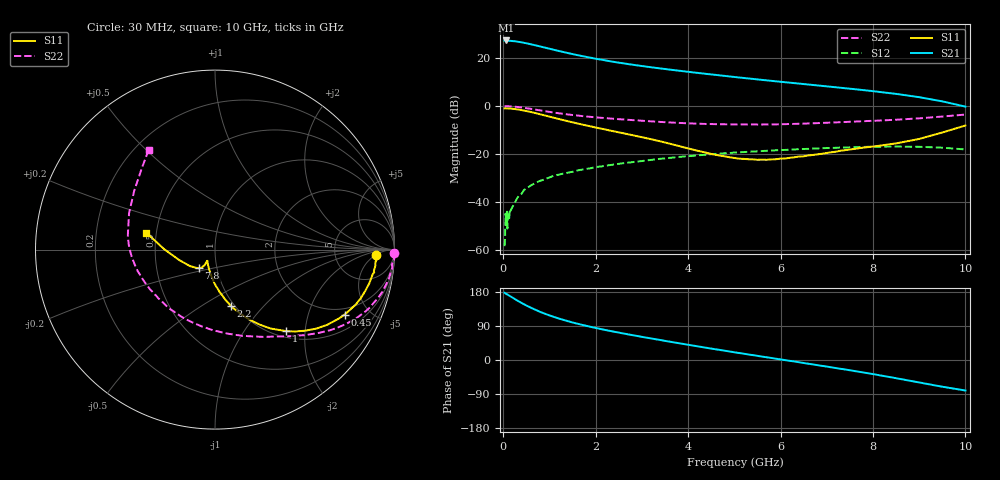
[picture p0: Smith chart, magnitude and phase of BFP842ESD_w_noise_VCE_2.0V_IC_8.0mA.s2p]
! Infineon Technologies  Discrete & RF Semiconductors
! BFP842ESD
! VCE =  2.0 V,  IC =  8.0 mA
! Common Emitter S-Parameters:  May 2012
# GHz  S  MA  R  50
!  f  S11  S21  S12  S22
! GHz  MAG  ANG  MAG  ANG  MAG  ANG  MAG  ANG
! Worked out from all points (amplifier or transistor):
!   99 points, 30 MHz to 10 GHz, reference 50 ohm
!   highest |S21| = 27.4 dB at 60 MHz (marker M1)
!   |S21| within 3 dB of that: start of sweep to 904.5 MHz
!   unconditionally stable (mu >= 1): 3.049 GHz to end of sweep
!   at 350 MHz: K = 0.26, MSG = 32.0 dB, |S12| = -37.1 dB
!   at 3.5 GHz: K = 1.04, MAG = 17.4 dB, |S12| = -21.8 dB
!   at 10 GHz: K = 1.93, MAG = 3.4 dB, |S12| = -18.1 dB
!   lowest NFmin = 0.54 dB at 450 MHz
!   S11 on the Smith chart (normalised r, x): 30 MHz: 17, -5; 450 MHz: 1.67, -3.48; 1 GHz: 1.12, -1.60; 2.2 GHz: 0.96, -0.68; 7.8 GHz: 0.82, -0.17; 10 GHz: 0.44, +0.10
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0.03  0.8983 -1.8  23.27 177.4  0.0012 119.8  0.9953 -1.1
0.05  0.9029 -3.5  23.05 175.5  0.0057 109.4  0.9967 -2.2
0.06  0.8978 -4.1  23.41 174.8  0.004 62.1  0.9994 -2.7
0.08  0.896 -5.1  23.22 173.3  0.0063 69.3  0.9919 -3.8
0.09  0.8979 -5.5  22.89 173.0  0.0028 67.5  0.9927 -4.1
0.11  0.8948 -6.9  23.25 171.1  0.0049 81.7  0.9899 -5.0
0.25  0.8685 -15.3  22.54 160.9  0.0096 79.8  0.9713 -11.9
0.45  0.8078 -26.6  20.89 147.1  0.0179 73.3  0.9215 -20.4
0.6  0.7529 -33.8  19.45 137.9  0.0222 69.5  0.8759 -25.8
0.7  0.7155 -38.0  18.5 132.4  0.0252 65.9  0.844 -29.1
0.8  0.6753 -42.0  17.54 126.9  0.0277 64.7  0.8145 -32.0
1  0.6036 -48.8  15.75 117.7  0.0326 60.7  0.7579 -37.2
1.3  0.5101 -57.1  13.44 106.0  0.0392 55.4  0.6894 -43.8
1.7  0.4139 -65.5  11.09 93.0  0.0473 50.6  0.6211 -51.0
2.2  0.3273 -74.1  9.022 79.4  0.0568 46.0  0.5627 -59.7
2.7  0.2583 -81.0  7.539 67.7  0.0661 40.9  0.5188 -68.5
3.4  0.1844 -91.4  6.105 52.7  0.0798 33.9  0.4681 -83.1
5.1  0.0802 -121.2  3.958 18.5  0.1087 13.3  0.4141 -124.1
6.7  0.0957 -123.8  2.763 -11.7  0.1302 -7.5  0.4384 -159.8
7.8  0.1364 -130.6  2.154 -33.1  0.1408 -24.6  0.4847 174.5
8.5  0.1669 -146.6  1.798 -48.0  0.1434 -37.2  0.5199 157.1
10  0.394 166.2  0.977 -80.6  0.1248 -67.6  0.6668 123.7
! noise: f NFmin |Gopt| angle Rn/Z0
0.45  0.54  0.21  2  0.1
0.9  0.55  0.22  7  0.1
1.5  0.57  0.23  18  0.09
1.9  0.58  0.22  25  0.09
2.4  0.59  0.18  33  0.08
3.5  0.67  0.11  86  0.08
4  0.7  0.1  115  0.08
5  0.76  0.11  136  0.08
5.5  0.88  0.11  162  0.07
6  0.99  0.11  178  0.06
